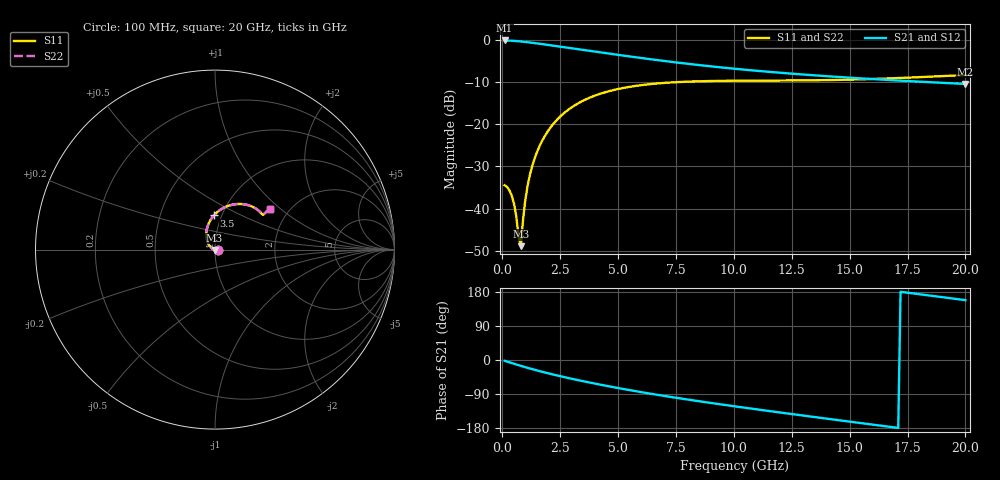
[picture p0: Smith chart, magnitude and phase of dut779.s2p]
! Touchstone file exported from HFSS 2024.1.0
!  File:  C:/UserFiles/LocalFiles/RDL_TSV_Batchsim/temp_RDL_TSV_779_1779905159.aedt
!  Generated:  02:26:59 AM May 28, 2026
!  Design:  RDL_TSV
!  Project:  temp_RDL_TSV_779_1779905159
!  Setup:  Setup1
!  Solution:  Sweep
! Variables:
!  dtsv = 13.08um
!  hbump = 3um
!  htsv = 94.26um
!  ldown = 301.17um
!  lrdl = 378.75um
!  p = 40
!  p1 = 55.44um
!  rhole = 10um
!  subl = 2418.51um
!  t = 450um
!  tdown = 2.65um
!  trdl = 3.4um
!  viad = 10um
!  wdown = 16.14um
!  wrdl = 13.53um
!  xbump = 18um
# GHz S MA R 50.000000
! Terminal data exported
! Port[1] = TM1_1_T1
! Port[2] = TM1_4_T1
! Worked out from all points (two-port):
!   200 points, 100 MHz to 20 GHz, reference 50 ohm
!   highest |S21| = -0.17 dB at 100 MHz (marker M1); lowest = -10.5 dB at 20 GHz (marker M2)
!   |S21| within 3 dB of the highest: start of sweep to 4.463 GHz
!   lowest |S11| = -48.9 dB at 800 MHz (marker M3), VSWR 1.01, Z = 49.7 - j0.254 ohm
!   |S11| at or under -10 dB: start of sweep to 7.699 GHz
!   |S22| runs from -48.9 to -8.4 dB; largest |S21 - S12| = 1.6e-14
!   S11 on the Smith chart (normalised r, x): 100 MHz: 1.04, -0.00; 3.5 GHz: 0.92, +0.36; 20 GHz: 1.62, +0.85
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0.1  0.01893 -3.8  0.9802 -2.0  0.9802 -2.0  0.01893 -3.8
! Gamma 0 0 0 0
! Port Impedance 50 0 50 0
0.3  0.01661 -12.6  0.9761 -6.0  0.9761 -6.0  0.01661 -12.6
0.5  0.01165 -25.4  0.9688 -9.9  0.9688 -9.9  0.01164 -25.4
0.6  0.008263 -36.4  0.9642 -11.8  0.9642 -11.8  0.008259 -36.4
0.7  0.004691 -61.2  0.959 -13.6  0.959 -13.6  0.004685 -61.2
0.8  0.003591 -134.6  0.9534 -15.5  0.9534 -15.5  0.003591 -134.7
0.9  0.007551 -178.5  0.9473 -17.3  0.9473 -17.3  0.007557 -178.6
1  0.01303 166.8  0.9408 -19.1  0.9408 -19.1  0.01304 166.7
1.1  0.01911 158.6  0.9341 -20.9  0.9341 -20.9  0.01912 158.6
1.3  0.03243 147.9  0.9198 -24.3  0.9198 -24.3  0.03244 147.9
1.6  0.05426 136.4  0.8971 -29.2  0.8971 -29.2  0.05428 136.4
2  0.08493 124.2  0.8662 -35.4  0.8662 -35.4  0.08495 124.2
2.4  0.1155 114.0  0.8356 -41.3  0.8356 -41.3  0.1155 114.0
2.9  0.1516 103.0  0.7986 -48.2  0.7986 -48.2  0.1517 103.0
3.5  0.1902 92.0  0.7565 -56.1  0.7565 -56.1  0.1903 92.0
4.9  0.2573 72.4  0.6676 -72.9  0.6676 -72.9  0.2573 72.4
6.8  0.3052 55.1  0.5689 -92.9  0.5689 -92.9  0.3052 55.1
8.4  0.3215 45.9  0.5044 -108.0  0.5044 -108.0  0.3215 45.9
10.1  0.327 40.1  0.4513 -122.8  0.4513 -122.8  0.3269 40.1
13.4  0.3307 36.0  0.38 -149.9  0.38 -149.9  0.3306 36.0
16.7  0.3482 36.3  0.3333 -176.1  0.3333 -176.1  0.3482 36.3
20  0.3817 36.0  0.2994 158.0  0.2994 158.0  0.3817 36.1
